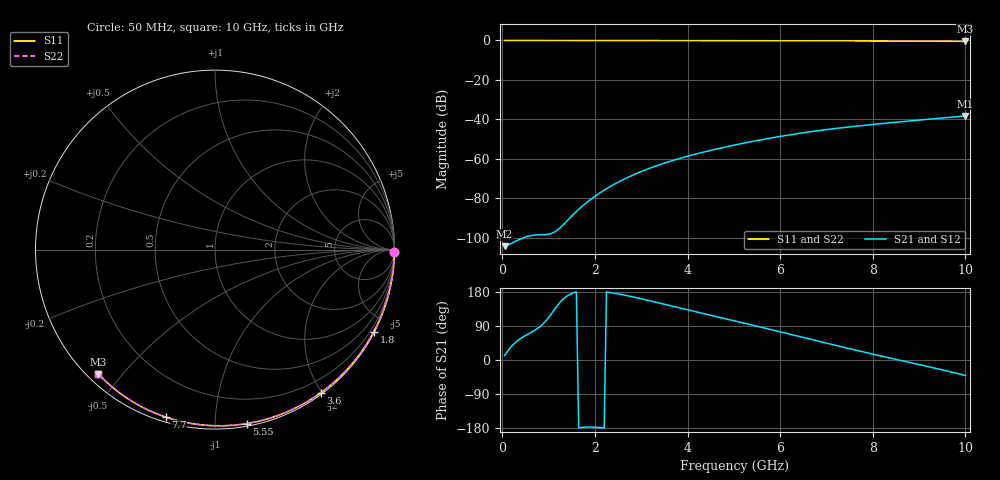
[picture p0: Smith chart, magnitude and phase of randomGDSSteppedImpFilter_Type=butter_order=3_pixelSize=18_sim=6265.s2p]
! freq	dB(S11)	phase(S11)	dB(S12)	phase(S12)
!  dB(S21)	phase(S21)	dB(S22)	phase(S22)
!S-par simulation data
#  GHz  S  DB  R 50
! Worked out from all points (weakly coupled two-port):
!   200 points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, 50 MHz to 10 GHz, reference 50 ohm
!   highest |S21| = -38.24 dB at 10 GHz (marker M1); lowest = -104.2 dB at 50 MHz (marker M2)
!   lowest |S11| = -0.4 dB at 10 GHz (marker M3), VSWR 39.11, Z = 1.52 - j21.6 ohm
!   |S11| at or under -10 dB: nowhere
!   |S22| runs from -0.4 to 0.0 dB; largest |S21 - S12| = 0
!   S11 on the Smith chart (normalised r, x): 50 MHz: open; 1.8 GHz: 0.04, -4.11; 3.6 GHz: 0.02, -1.99; 5.55 GHz: 0.02, -1.20; 7.7 GHz: 0.02, -0.75; 10 GHz: 0.03, -0.43
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0.05  -0.00 -0.8  -104.23 11.7  -104.23 11.7  -0.00 -0.8
0.45  -0.01 -6.9  -100.00 60.9  -100.00 60.9  -0.01 -6.9
0.9  -0.02 -13.8  -98.41 97.9  -98.41 97.9  -0.02 -13.8
1.75  -0.03 -26.6  -83.50 -177.6  -83.50 -177.6  -0.03 -26.6
1.8  -0.03 -27.3  -82.52 -177.1  -82.52 -177.1  -0.03 -27.3
1.9  -0.04 -28.8  -80.68 -176.9  -80.68 -176.9  -0.04 -28.8
1.95  -0.04 -29.5  -79.80 -177.1  -79.80 -177.1  -0.04 -29.5
2.25  -0.04 -34.0  -75.12 179.5  -75.12 179.5  -0.04 -34.0
2.45  -0.05 -36.9  -72.44 175.7  -72.44 175.7  -0.05 -36.9
2.65  -0.05 -39.8  -70.05 171.0  -70.05 171.0  -0.05 -39.8
3  -0.06 -44.9  -66.41 161.7  -66.41 161.7  -0.06 -44.9
3.4  -0.07 -50.6  -62.93 150.1  -62.93 150.1  -0.07 -50.6
3.6  -0.07 -53.4  -61.39 144.3  -61.39 144.3  -0.07 -53.4
4.25  -0.09 -62.4  -57.12 125.3  -57.12 125.3  -0.09 -62.4
5.05  -0.11 -73.2  -52.82 102.2  -52.82 102.2  -0.11 -73.2
5.55  -0.13 -79.7  -50.50 87.7  -50.50 87.7  -0.13 -79.7
6.1  -0.15 -86.8  -48.24 71.5  -48.24 71.5  -0.15 -86.8
6.7  -0.18 -94.3  -46.11 53.5  -46.11 53.5  -0.18 -94.3
7.7  -0.24 -106.5  -43.28 24.0  -43.28 24.0  -0.24 -106.5
8.35  -0.29 -114.1  -41.77 5.8  -41.77 5.8  -0.29 -114.1
9.15  -0.36 -123.4  -40.04 -16.2  -40.04 -16.2  -0.36 -123.4
10  -0.44 -133.2  -38.24 -40.9  -38.24 -40.9  -0.44 -133.2
